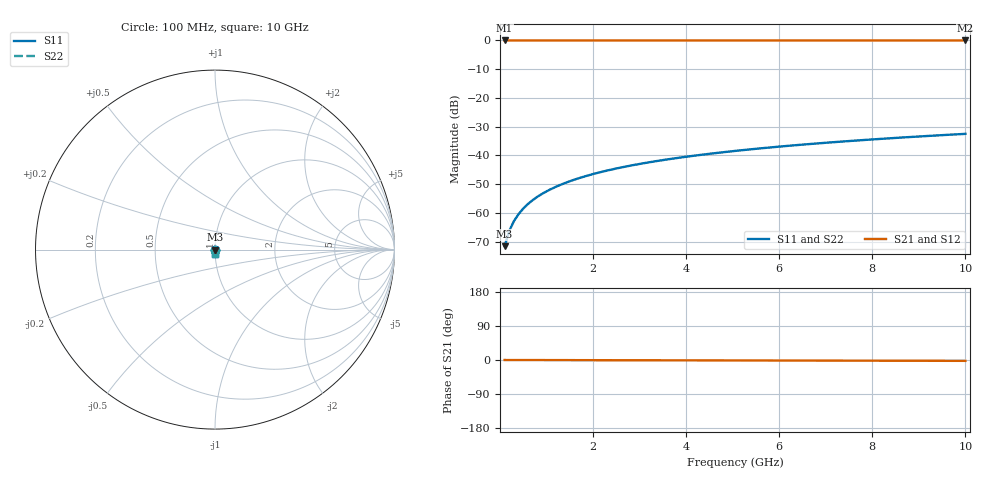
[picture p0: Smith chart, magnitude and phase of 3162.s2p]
# Hz S RI R 50.00
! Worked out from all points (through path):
!   100 points, 100 MHz to 10 GHz, reference 50 ohm
!   highest |S21| = 0.00 dB at 100 MHz (marker M1); lowest = 0.0 dB at 10 GHz (marker M2)
!   lowest |S11| = -71.6 dB at 100 MHz (marker M3), VSWR 1.00, Z = 50 - j0.0237 ohm
!   |S11| at or under -10 dB: start of sweep to end of sweep
!   |S22| runs from -71.6 to -32.5 dB; largest |S21 - S12| = 0
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1e8  0.000117 -0.000237  0.9999 -0.000398  0.9999 -0.000398  0.000117 -0.000237
2e8  0.000117 -0.000474  0.9999 -0.000796  0.9999 -0.000796  0.000117 -0.000474
3e8  0.000117 -0.000712  0.9999 -0.00119  0.9999 -0.00119  0.000117 -0.000712
4e8  0.000117 -0.000949  0.9999 -0.00159  0.9999 -0.00159  0.000117 -0.000949
5e8  0.000116 -0.00119  0.9999 -0.00199  0.9999 -0.00199  0.000116 -0.00119
6e8  0.000115 -0.00142  0.9999 -0.00239  0.9999 -0.00239  0.000115 -0.00142
7e8  0.000114 -0.00166  0.9999 -0.00279  0.9999 -0.00279  0.000114 -0.00166
8e8  0.000112 -0.0019  0.9999 -0.00318  0.9999 -0.00318  0.000112 -0.0019
9e8  0.000111 -0.00213  0.9999 -0.00358  0.9999 -0.00358  0.000111 -0.00213
1.1e9  0.000107 -0.00261  0.9999 -0.00438  0.9999 -0.00438  0.000107 -0.00261
1.4e9  9.95e-05 -0.00332  0.9999 -0.00557  0.9999 -0.00557  9.95e-05 -0.00332
1.8e9  8.71e-05 -0.00427  0.9998 -0.00716  0.9998 -0.00716  8.71e-05 -0.00427
2.1e9  7.57e-05 -0.00498  0.9998 -0.00836  0.9998 -0.00836  7.57e-05 -0.00498
2.5e9  5.79e-05 -0.00593  0.9998 -0.00995  0.9998 -0.00995  5.79e-05 -0.00593
2.9e9  3.7e-05 -0.00688  0.9998 -0.0115  0.9998 -0.0115  3.7e-05 -0.00688
3.4e9  6.55e-06 -0.00807  0.9997 -0.0135  0.9997 -0.0135  6.55e-06 -0.00807
4.2e9  -5.2e-05 -0.00996  0.9997 -0.0167  0.9997 -0.0167  -5.2e-05 -0.00996
5.1e9  -0.000132 -0.0121  0.9996 -0.0203  0.9996 -0.0203  -0.000132 -0.0121
5.9e9  -0.000217 -0.014  0.9995 -0.0235  0.9995 -0.0235  -0.000217 -0.014
6.7e9  -0.000313 -0.0159  0.9994 -0.0267  0.9994 -0.0267  -0.000313 -0.0159
8.4e9  -0.000559 -0.0199  0.9991 -0.0334  0.9991 -0.0334  -0.000559 -0.0199
1e10  -0.00084 -0.0237  0.9988 -0.0398  0.9988 -0.0398  -0.00084 -0.0237
